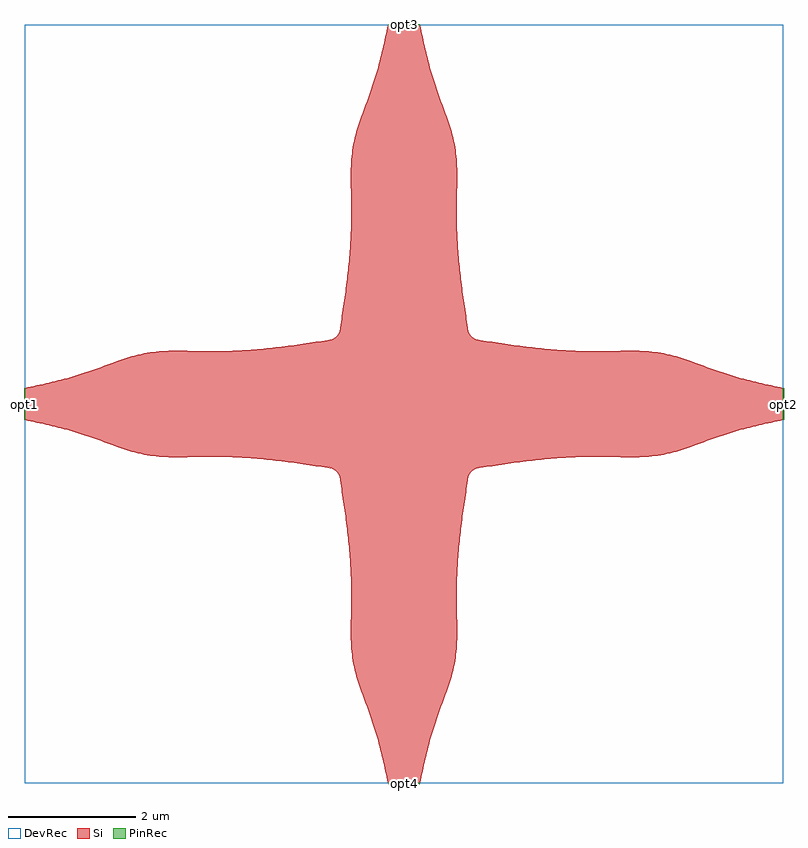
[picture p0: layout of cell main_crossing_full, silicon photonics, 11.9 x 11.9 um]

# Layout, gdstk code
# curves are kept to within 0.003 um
import gdstk
lib = gdstk.Library(unit=1e-6, precision=1e-09)
def R(c, l, rs):  # rectangles x0, y0, x1, y1
    for r in rs: c.add(gdstk.rectangle(r[:2], r[2:], *l))
def P(c, l, *ps):  # polygons
    for p in ps: c.add(gdstk.Polygon(p, *l))
Si = (1, 0)
PinRec = (1, 10)
DevRec = (68, 0)

main_crossing_full = lib.new_cell('main_crossing_full')
R(main_crossing_full, Si, [(4.941,4.75,6.941,4.941), (4.941,4.941,6.941,6.941), (4.941,6.941,6.941,7.132)])
P(main_crossing_full, Si, [(4.941,4.75),(4.939,4.779),(4.926,4.825),(4.895,4.875),(4.858,4.908),(4.825,4.926),(4.791,4.937),(4.75,4.941),(4.75,6.941),(4.941,6.941)],
  [(4.75,6.941),(4.791,6.945),(4.818,6.953),(4.85,6.969),(4.879,6.991),(4.899,7.012),(4.924,7.052),(4.939,7.103),(4.941,7.132),(4.941,6.941)],
  [(6.941,4.75),(6.941,6.941),(7.132,6.941),(7.132,4.941),(7.091,4.937),(7.064,4.929),(7.032,4.913),(7.003,4.891),(6.983,4.87),(6.958,4.83),(6.943,4.779)],
  [(6.941,6.941),(6.941,7.132),(6.943,7.103),(6.956,7.057),(6.987,7.007),(7.024,6.974),(7.057,6.956),(7.091,6.945),(7.132,6.941)],
  [(2.351,5.107),(2.111,5.117),(1.919,5.141),(1.823,5.16),(1.583,5.226),(1.008,5.431),(0.768,5.507),(0.432,5.595),(0,5.691),(0,6.191),(0.432,6.287),(0.768,6.375),(1.008,6.451),(1.583,6.656),(1.823,6.722),(1.919,6.741),(2.111,6.765),(2.399,6.775),(2.399,5.107)],
  [(4.75,4.941),(4.222,5.019),(3.982,5.05),(3.694,5.081),(3.455,5.1),(3.023,5.117),(2.399,5.107),(2.399,6.775),(3.023,6.765),(3.455,6.782),(3.694,6.801),(3.982,6.832),(4.222,6.863),(4.75,6.941)],
  [(5.691,0),(5.595,0.432),(5.507,0.768),(5.431,1.008),(5.226,1.583),(5.16,1.823),(5.141,1.919),(5.117,2.111),(5.107,2.399),(6.775,2.399),(6.765,2.111),(6.741,1.919),(6.722,1.823),(6.656,1.583),(6.451,1.008),(6.375,0.768),(6.287,0.432),(6.191,0)],
  [(5.107,2.399),(5.117,3.023),(5.1,3.455),(5.081,3.694),(5.05,3.982),(5.019,4.222),(4.941,4.75),(6.941,4.75),(6.863,4.222),(6.832,3.982),(6.801,3.694),(6.782,3.455),(6.765,3.023),(6.775,2.399)],
  [(7.132,4.941),(7.132,6.941),(7.66,6.863),(7.9,6.832),(8.188,6.801),(8.427,6.782),(8.859,6.765),(9.531,6.775),(9.531,5.107),(8.859,5.117),(8.427,5.1),(8.188,5.081),(7.9,5.05),(7.66,5.019)],
  [(9.531,5.107),(9.531,6.775),(9.771,6.765),(9.963,6.741),(10.059,6.722),(10.299,6.656),(10.874,6.451),(11.114,6.375),(11.45,6.287),(11.882,6.191),(11.882,5.691),(11.45,5.595),(11.114,5.507),(10.874,5.431),(10.299,5.226),(10.059,5.16),(9.963,5.141),(9.771,5.117)],
  [(4.941,7.132),(5.019,7.66),(5.05,7.9),(5.081,8.188),(5.1,8.427),(5.117,8.859),(5.107,9.531),(6.775,9.531),(6.765,8.859),(6.782,8.427),(6.801,8.188),(6.832,7.9),(6.863,7.66),(6.941,7.132)],
  [(5.107,9.531),(5.117,9.771),(5.141,9.963),(5.16,10.059),(5.226,10.299),(5.431,10.874),(5.507,11.114),(5.595,11.45),(5.691,11.882),(6.191,11.882),(6.287,11.45),(6.375,11.114),(6.451,10.874),(6.656,10.299),(6.722,10.059),(6.741,9.963),(6.765,9.771),(6.775,9.531)])
R(main_crossing_full, DevRec, [(0,0,11.882,11.882)])
main_crossing_full.add(gdstk.FlexPath([(0.01,5.941),(-0.01,5.941)], 0.5, ends="flush", simple_path=True, layer=1, datatype=10))  # PinRec
main_crossing_full.add(gdstk.FlexPath([(11.872,5.941),(11.892,5.941)], 0.5, ends="flush", simple_path=True, layer=1, datatype=10))  # PinRec
main_crossing_full.add(gdstk.FlexPath([(5.941,11.872),(5.941,11.892)], 0.5, ends="flush", simple_path=True, layer=1, datatype=10))  # PinRec
main_crossing_full.add(gdstk.FlexPath([(5.941,0.01),(5.941,-0.01)], 0.5, ends="flush", simple_path=True, layer=1, datatype=10))  # PinRec
main_crossing_full.add(gdstk.Label('opt1', (0,5.941), layer=1, texttype=10))
main_crossing_full.add(gdstk.Label('opt2', (11.882,5.941), layer=1, texttype=10))
main_crossing_full.add(gdstk.Label('opt3', (5.941,11.882), layer=1, texttype=10))
main_crossing_full.add(gdstk.Label('opt4', (5.941,0), layer=1, texttype=10))

lib.write_gds('main_crossing_full.gds')
